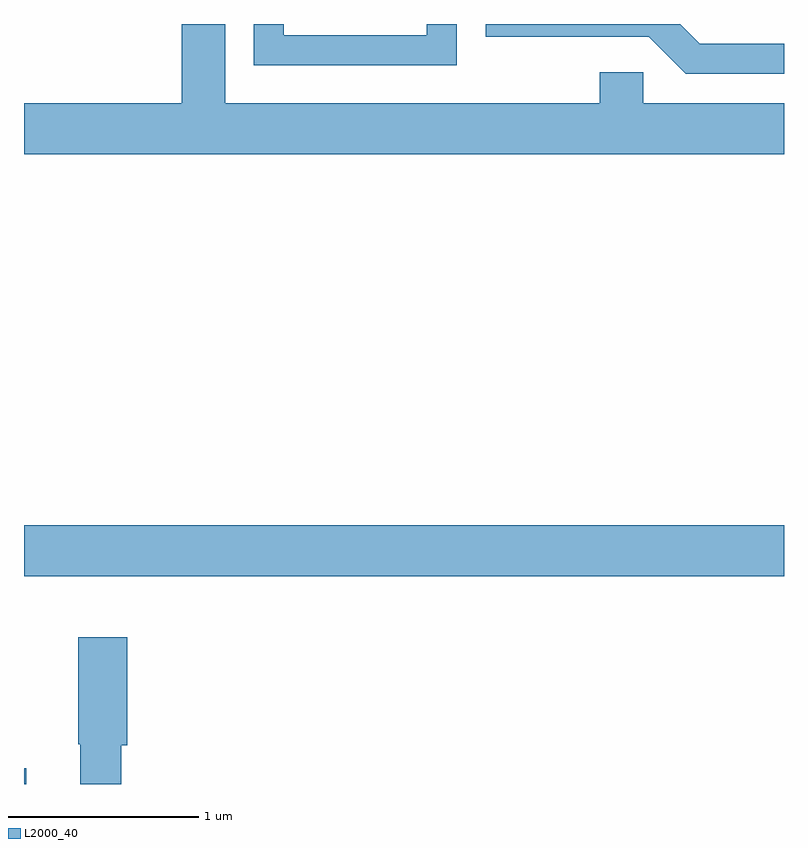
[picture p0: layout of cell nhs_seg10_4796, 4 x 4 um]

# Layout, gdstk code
import gdstk
lib = gdstk.Library(unit=1e-6, precision=1e-09)
def R(c, l, rs):  # rectangles x0, y0, x1, y1
    for r in rs: c.add(gdstk.rectangle(r[:2], r[2:], *l))
def P(c, l, *ps):  # polygons
    for p in ps: c.add(gdstk.Polygon(p, *l))
L2000_40 = (2000, 40)

nhs_seg10_4796 = lib.new_cell('nhs_seg10_4796')
R(nhs_seg10_4796, L2000_40, [(325.611,2190.522,325.624,2190.604), (325.611,2191.616,329.611,2191.884)])
P(nhs_seg10_4796, L2000_40, [(329.611,2194.104),(328.869,2194.104),(328.869,2194.269),(328.641,2194.269),(328.641,2194.104),(326.669,2194.104),(326.669,2194.522),(326.441,2194.522),(326.441,2194.104),(325.611,2194.104),(325.611,2193.836),(329.611,2193.836)],
  [(327.889,2194.522),(327.731,2194.522),(327.731,2194.464),(326.979,2194.464),(326.979,2194.522),(326.821,2194.522),(326.821,2194.306),(327.889,2194.306)],
  [(329.611,2194.419),(329.167,2194.419),(329.064,2194.522),(328.041,2194.522),(328.041,2194.456),(328.899,2194.456),(329.094,2194.261),(329.611,2194.261)],
  [(326.124,2190.726),(326.154,2190.726),(326.154,2191.294),(325.896,2191.294),(325.896,2190.73),(325.906,2190.73),(325.906,2190.522),(326.124,2190.522)])

lib.write_gds('nhs_seg10_4796.gds')
